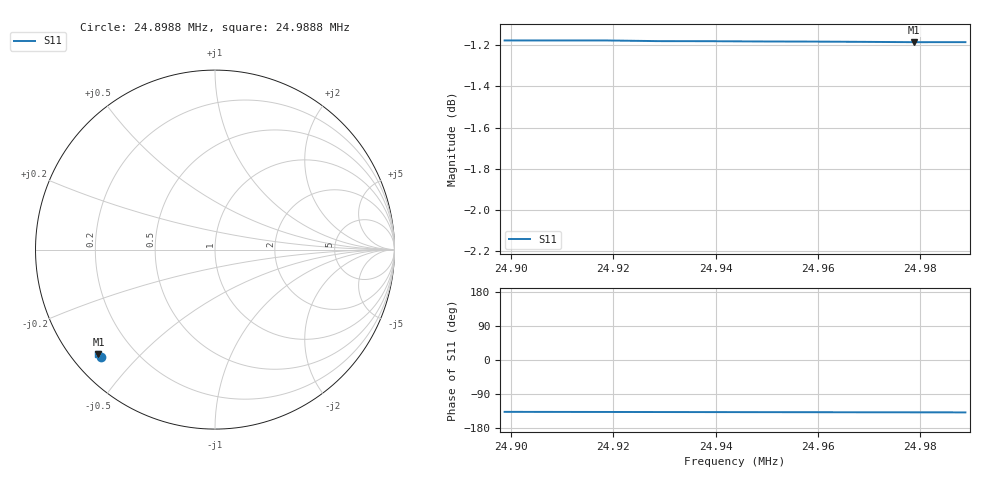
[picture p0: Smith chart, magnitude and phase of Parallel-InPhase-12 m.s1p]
# HZ S RI R 50
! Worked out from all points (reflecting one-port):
!   10 points, 24.8988 MHz to 24.9888 MHz, reference 50 ohm
!   lowest |S11| = -1.2 dB at 24.9788 MHz (marker M1), VSWR 14.68, Z = 3.9 - j19 ohm
!   phase of S11 starts at -137 deg and turns -1 deg over the sweep
2.489876e7  -0.637 -0.5974
2.490876e7  -0.6387 -0.5956
2.491876e7  -0.6401 -0.594
2.492877e7  -0.6417 -0.5919
2.493877e7  -0.6433 -0.5901
2.494878e7  -0.6447 -0.5883
2.495878e7  -0.6462 -0.5866
2.496878e7  -0.6479 -0.5846
2.497879e7  -0.6493 -0.5828
2.498879e7  -0.6508 -0.5811
